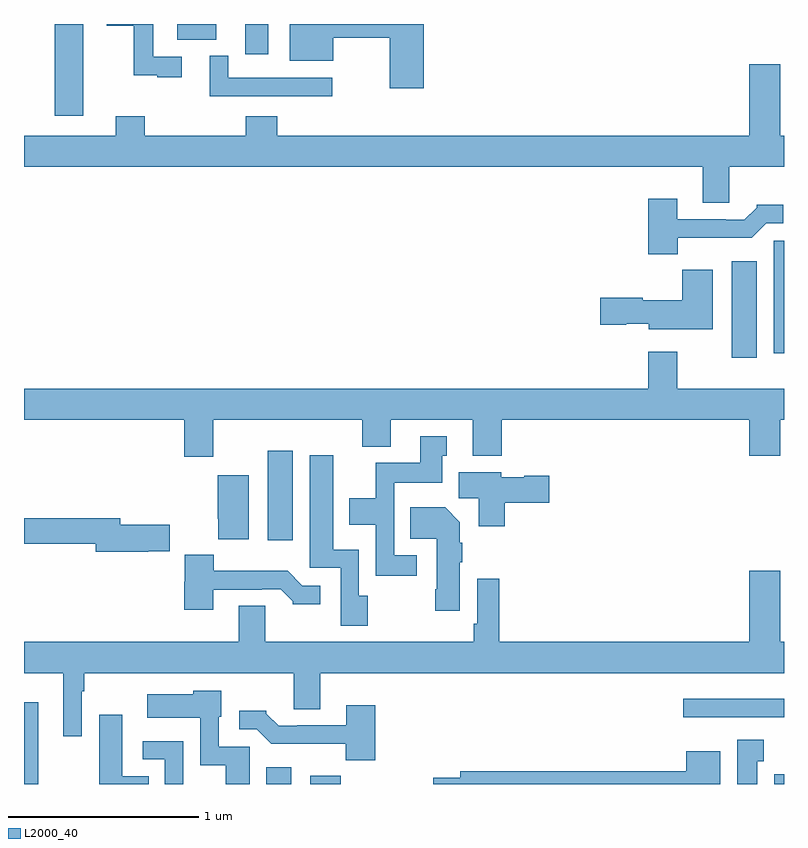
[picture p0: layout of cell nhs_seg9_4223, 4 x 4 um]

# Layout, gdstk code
import gdstk
lib = gdstk.Library(unit=1e-6, precision=1e-09)
def R(c, l, rs):  # rectangles x0, y0, x1, y1
    for r in rs: c.add(gdstk.rectangle(r[:2], r[2:], *l))
def P(c, l, *ps):  # polygons
    for p in ps: c.add(gdstk.Polygon(p, *l))
L2000_40 = (2000, 40)

nhs_seg9_4223 = lib.new_cell('nhs_seg9_4223')
R(nhs_seg9_4223, L2000_40, [(353,1198.5,353.074,1198.93), (354.275,1198.5,354.406,1198.588), (354.506,1198.5,354.668,1198.543), (356.948,1198.5,357,1198.552), (356.469,1198.851,357,1198.948), (354.284,1199.784,354.415,1200.253), (356.726,1200.744,356.857,1201.252), (356.945,1200.768,357,1201.359), (353.162,1202.016,353.311,1202.5), (354.164,1202.34,354.286,1202.5), (353.807,1202.417,354.013,1202.5)])
P(nhs_seg9_4223, L2000_40, [(353.83,1202.328),(353.679,1202.328),(353.679,1202.5),(353.436,1202.5),(353.436,1202.491),(353.578,1202.491),(353.578,1202.231),(353.702,1202.231),(353.702,1202.22),(353.83,1202.22)],
  [(355.103,1202.5),(354.398,1202.5),(354.398,1202.306),(354.628,1202.306),(354.628,1202.428),(354.925,1202.428),(354.925,1202.163),(355.103,1202.163)],
  [(354.622,1202.217),(354.075,1202.217),(354.075,1202.332),(353.978,1202.332),(353.978,1202.121),(354.622,1202.121)],
  [(356.713,1201.748),(357,1201.748),(357,1201.912),(356.98,1201.912),(356.98,1202.287),(356.816,1202.287),(356.816,1201.912),(354.332,1201.912),(354.332,1202.014),(354.167,1202.014),(354.167,1201.912),(353.636,1201.912),(353.636,1202.014),(353.483,1202.014),(353.483,1201.912),(353,1201.912),(353,1201.748),(356.573,1201.748),(356.573,1201.558),(356.713,1201.558)],
  [(356.44,1201.376),(356.831,1201.376),(356.907,1201.452),(356.995,1201.452),(356.995,1201.549),(356.856,1201.549),(356.856,1201.534),(356.792,1201.47),(356.693,1201.47),(356.693,1201.473),(356.437,1201.473),(356.437,1201.579),(356.285,1201.579),(356.285,1201.289),(356.44,1201.289)],
  [(356.626,1201.207),(356.464,1201.207),(356.464,1201.045),(356.256,1201.045),(356.256,1201.058),(356.034,1201.058),(356.034,1200.916),(356.169,1200.916),(356.169,1200.923),(356.288,1200.923),(356.288,1200.893),(356.626,1200.893)],
  [(353.995,1200.416),(354.779,1200.416),(354.779,1200.275),(354.931,1200.275),(354.931,1200.416),(355.361,1200.416),(355.361,1200.227),(355.514,1200.227),(355.514,1200.416),(356.816,1200.416),(356.816,1200.228),(356.98,1200.228),(356.98,1200.416),(357,1200.416),(357,1200.58),(356.437,1200.58),(356.437,1200.775),(356.285,1200.775),(356.285,1200.58),(353,1200.58),(353,1200.416),(353.843,1200.416),(353.843,1200.222),(353.995,1200.222)],
  [(355.066,1199.703),(354.948,1199.703),(354.948,1200.086),(355.201,1200.086),(355.201,1200.228),(355.225,1200.228),(355.225,1200.331),(355.085,1200.331),(355.085,1200.19),(354.85,1200.19),(354.85,1200.004),(354.713,1200.004),(354.713,1199.864),(354.852,1199.864),(354.852,1199.595),(355.066,1199.595)],
  [(354.81,1199.49),(354.762,1199.49),(354.762,1199.734),(354.628,1199.734),(354.628,1200.229),(354.503,1200.229),(354.503,1199.637),(354.666,1199.637),(354.666,1199.334),(354.81,1199.334)],
  [(355.529,1199.981),(355.765,1199.981),(355.765,1200.123),(355.632,1200.123),(355.632,1200.115),(355.512,1200.115),(355.512,1200.142),(355.289,1200.142),(355.289,1200.004),(355.394,1200.004),(355.394,1199.856),(355.529,1199.856)],
  [(354.184,1200.124),(354.02,1200.124),(354.02,1199.896),(354.022,1199.896),(354.022,1199.789),(354.184,1199.789)],
  [(355.294,1199.668),(355.307,1199.668),(355.307,1199.771),(355.294,1199.771),(355.294,1199.878),(355.216,1199.956),(355.033,1199.956),(355.033,1199.792),(355.172,1199.792),(355.172,1199.524),(355.165,1199.524),(355.165,1199.412),(355.294,1199.412)],
  [(353.654,1199.724),(353.767,1199.724),(353.767,1199.864),(353.506,1199.864),(353.506,1199.9),(353,1199.9),(353,1199.764),(353.378,1199.764),(353.378,1199.722),(353.654,1199.722)],
  [(353.995,1199.523),(354.251,1199.523),(354.251,1199.526),(354.35,1199.526),(354.414,1199.462),(354.414,1199.447),(354.559,1199.447),(354.559,1199.544),(354.465,1199.544),(354.387,1199.623),(353.998,1199.623),(353.998,1199.707),(353.846,1199.707),(353.846,1199.565),(353.843,1199.565),(353.843,1199.418),(353.995,1199.418)],
  [(353.304,1198.988),(353.317,1198.988),(353.317,1199.084),(354.419,1199.084),(354.419,1198.894),(354.559,1198.894),(354.559,1199.084),(357,1199.084),(357,1199.248),(356.98,1199.248),(356.98,1199.623),(356.816,1199.623),(356.816,1199.248),(355.502,1199.248),(355.502,1199.581),(355.386,1199.581),(355.386,1199.344),(355.366,1199.344),(355.366,1199.248),(354.271,1199.248),(354.271,1199.438),(354.131,1199.438),(354.131,1199.248),(353,1199.248),(353,1199.084),(353.207,1199.084),(353.207,1198.752),(353.304,1198.752)],
  [(354.187,1198.695),(354.024,1198.695),(354.024,1198.854),(354.037,1198.854),(354.037,1198.99),(353.892,1198.99),(353.892,1198.972),(353.649,1198.972),(353.649,1198.85),(353.928,1198.85),(353.928,1198.598),(354.062,1198.598),(354.062,1198.5),(354.187,1198.5)],
  [(354.848,1198.915),(354.695,1198.915),(354.695,1198.809),(354.439,1198.809),(354.439,1198.806),(354.34,1198.806),(354.276,1198.87),(354.276,1198.885),(354.132,1198.885),(354.132,1198.788),(354.225,1198.788),(354.301,1198.712),(354.693,1198.712),(354.693,1198.625),(354.848,1198.625)],
  [(353.657,1198.54),(353.518,1198.54),(353.518,1198.864),(353.396,1198.864),(353.396,1198.5),(353.657,1198.5)],
  [(356.86,1198.619),(356.893,1198.619),(356.893,1198.732),(356.753,1198.732),(356.753,1198.5),(356.86,1198.5)],
  [(353.838,1198.725),(353.625,1198.725),(353.625,1198.629),(353.742,1198.629),(353.742,1198.5),(353.838,1198.5)],
  [(356.665,1198.672),(356.486,1198.672),(356.486,1198.568),(355.295,1198.568),(355.295,1198.532),(355.153,1198.532),(355.153,1198.5),(356.665,1198.5)])

lib.write_gds('nhs_seg9_4223.gds')
